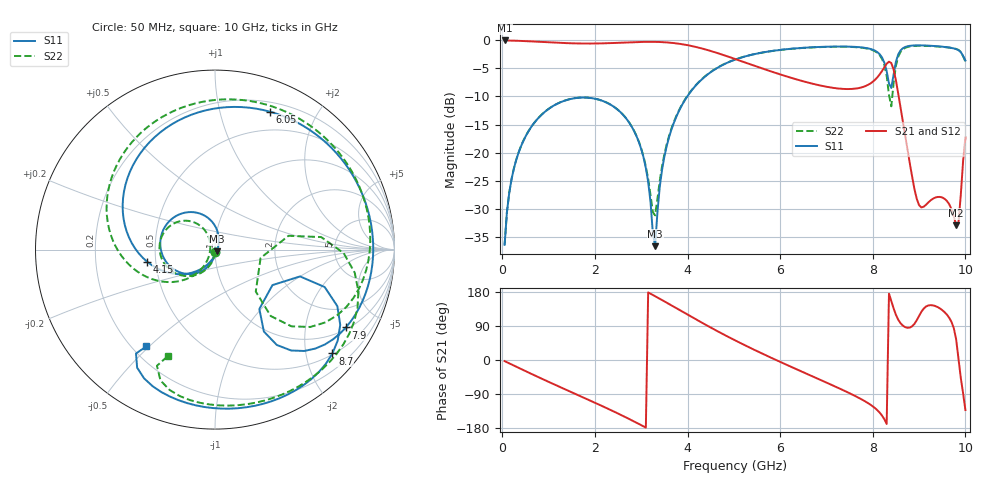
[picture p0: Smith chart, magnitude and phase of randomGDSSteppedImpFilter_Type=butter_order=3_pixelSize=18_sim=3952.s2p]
! freq	dB(S11)	phase(S11)	dB(S12)	phase(S12)
!  dB(S21)	phase(S21)	dB(S22)	phase(S22)
!S-par simulation data
#  GHz  S  DB  R 50
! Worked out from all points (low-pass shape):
!   200 points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, 50 MHz to 10 GHz, reference 50 ohm
!   highest |S21| = -0.01 dB at 50 MHz (marker M1); lowest = -32.9 dB at 9.8 GHz (marker M2)
!   |S21| within 3 dB of the highest: start of sweep to 4.921 GHz
!   lowest |S11| = -36.7 dB at 3.3 GHz (marker M3), VSWR 1.03, Z = 51.1 - j1.01 ohm
!   |S11| at or under -10 dB: start of sweep to 3.994 GHz
!   |S22| runs from -36.4 to -1.0 dB; largest |S21 - S12| = 0
!   S11 on the Smith chart (normalised r, x): 50 MHz: 1.00, -0.03; 4.15 GHz: 0.45, -0.07; 6.05 GHz: 0.30, +1.44; 7.9 GHz: 1.07, -3.32; 8.7 GHz: 0.52, -2.55; 10 GHz: 0.26, -0.49
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0.05  -36.45 -90.8  -0.01 -3.0  -0.01 -3.0  -36.44 -90.6
0.2  -24.73 -102.0  -0.04 -11.8  -0.04 -11.8  -24.73 -100.9
0.5  -17.16 -121.1  -0.13 -29.3  -0.13 -29.3  -17.15 -118.2
1.75  -10.19 165.1  -0.56 -99.0  -0.56 -99.0  -10.18 176.0
2.85  -16.22 95.6  -0.32 -162.5  -0.32 -162.5  -16.19 121.6
3.1  -22.75 73.5  -0.26 -178.4  -0.26 -178.4  -22.48 117.3
3.3  -36.69 -42.6  -0.27 168.3  -0.27 168.3  -31.20 -170.6
3.4  -26.14 -102.3  -0.29 161.6  -0.29 161.6  -25.07 -130.1
3.65  -15.95 -130.8  -0.43 144.4  -0.43 144.4  -15.77 -127.3
4.15  -8.31 -169.9  -1.11 109.5  -1.11 109.5  -8.25 -154.9
5.05  -3.36 127.7  -3.38 50.4  -3.38 50.4  -3.35 150.9
6.05  -1.65 68.2  -6.20 -7.7  -6.20 -7.7  -1.66 95.2
6.7  -1.22 33.2  -7.73 -43.3  -7.73 -43.3  -1.25 59.9
7.9  -1.43 -30.7  -7.91 -114.0  -7.91 -114.0  -1.50 -11.4
8.2  -3.05 -53.0  -5.45 -146.7  -5.45 -146.7  -3.30 -39.1
8.35  -7.68 -53.3  -3.79 175.1  -3.79 175.1  -9.74 -45.8
8.4  -8.49 -31.7  -4.04 155.9  -4.04 155.9  -11.76 -10.5
8.5  -3.80 -18.9  -7.15 119.1  -7.15 119.1  -4.50 6.7
8.7  -1.18 -41.5  -17.00 86.7  -17.00 86.7  -1.33 -22.2
9  -0.88 -63.5  -29.38 116.5  -29.38 116.5  -0.96 -48.0
9.8  -1.55 -114.6  -32.94 54.8  -32.94 54.8  -1.52 -103.5
10  -3.59 -125.4  -17.31 -132.1  -17.31 -132.1  -3.76 -113.8
